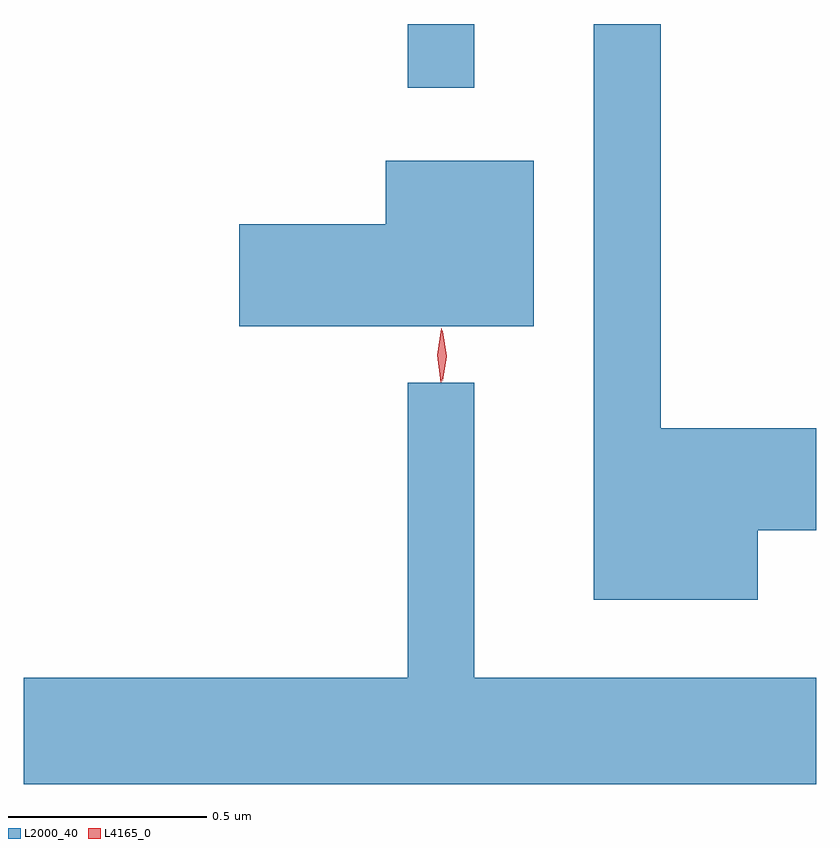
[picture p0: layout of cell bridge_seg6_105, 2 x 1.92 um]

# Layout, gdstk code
import gdstk
lib = gdstk.Library(unit=1e-6, precision=1e-09)
def R(c, l, rs):  # rectangles x0, y0, x1, y1
    for r in rs: c.add(gdstk.rectangle(r[:2], r[2:], *l))
def P(c, l, *ps):  # polygons
    for p in ps: c.add(gdstk.Polygon(p, *l))
L2000_40 = (2000, 40)
L4165_0 = (4165, 0)

bridge_seg6_105 = lib.new_cell('bridge_seg6_105')
R(bridge_seg6_105, L2000_40, [(1138.501,1653.913,1138.669,1654.074)])
P(bridge_seg6_105, L2000_40, [(1139.384,1652.796),(1139.532,1652.796),(1139.532,1653.054),(1139.139,1653.054),(1139.139,1654.074),(1138.971,1654.074),(1138.971,1652.621),(1139.384,1652.621)],
  [(1138.819,1653.729),(1138.446,1653.729),(1138.446,1653.569),(1138.076,1653.569),(1138.076,1653.311),(1138.819,1653.311)],
  [(1139.532,1652.424),(1138.669,1652.424),(1138.669,1653.168),(1138.501,1653.168),(1138.501,1652.424),(1137.532,1652.424),(1137.532,1652.156),(1139.532,1652.156)])
P(bridge_seg6_105, L4165_0, [(1138.584,1653.17),(1138.576,1653.238),(1138.586,1653.305),(1138.586,1653.306),(1138.587,1653.305),(1138.596,1653.238),(1138.585,1653.17),(1138.585,1653.17)],
  [(1138.589,1653.173),(1138.589,1653.174),(1138.579,1653.236),(1138.589,1653.299),(1138.589,1653.3),(1138.59,1653.299),(1138.599,1653.236),(1138.59,1653.174)])

lib.write_gds('bridge_seg6_105.gds')
